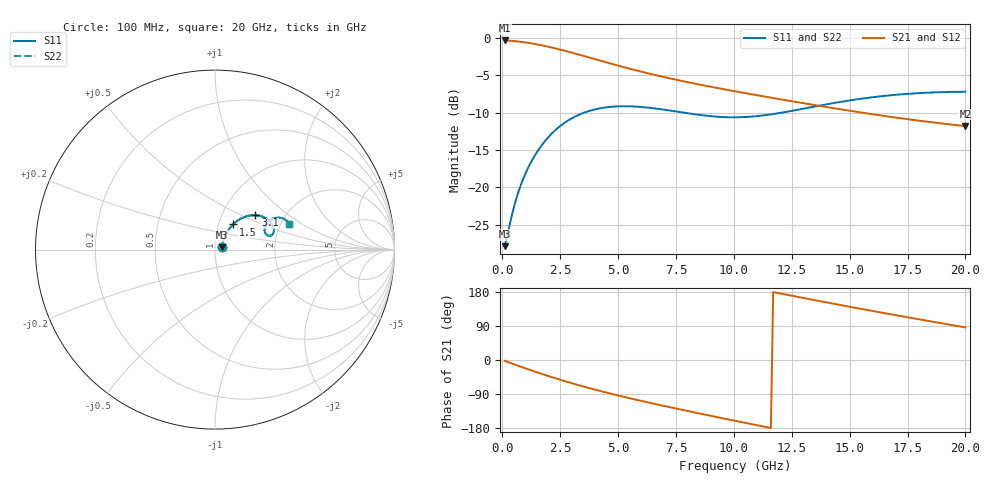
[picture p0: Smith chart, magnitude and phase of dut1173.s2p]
! Touchstone file exported from HFSS 2024.1.0
!  File:  C:/UserFiles/LocalFiles/RDL_TSV_Batchsim/temp_RDL_TSV_1173_1780123583.aedt
!  Generated:  03:03:57 PM May 30, 2026
!  Design:  RDL_TSV
!  Project:  temp_RDL_TSV_1173_1780123583
!  Setup:  Setup1
!  Solution:  Sweep
! Variables:
!  dtsv = 7.74um
!  hbump = 3um
!  htsv = 65.61um
!  ldown = 642.77um
!  lrdl = 571.92um
!  p = 40
!  p1 = 49.25um
!  rhole = 10um
!  subl = 4215.99um
!  t = 450um
!  tdown = 2.61um
!  trdl = 2.37um
!  viad = 10um
!  wdown = 17.04um
!  wrdl = 14.31um
!  xbump = 18um
# GHz S MA R 50.000000
! Terminal data exported
! Port[1] = TM1_1_T1
! Port[2] = TM1_4_T1
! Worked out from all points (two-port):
!   200 points, 100 MHz to 20 GHz, reference 50 ohm
!   highest |S21| = -0.34 dB at 100 MHz (marker M1); lowest = -11.8 dB at 20 GHz (marker M2)
!   |S21| within 3 dB of the highest: start of sweep to 4.568 GHz
!   lowest |S11| = -27.9 dB at 100 MHz (marker M3), VSWR 1.08, Z = 54 + j1.27 ohm
!   |S11| at or under -10 dB: start of sweep to 3.538 GHz; 7.827 GHz to 12.08 GHz (4.255 GHz wide, 42.7 % of centre)
!   |S22| runs from -27.9 to -7.2 dB; largest |S21 - S12| = 1.7e-13
!   S11 on the Smith chart (normalised r, x): 100 MHz: 1.08, +0.03; 1.5 GHz: 1.17, +0.34; 3.1 GHz: 1.43, +0.60; 20 GHz: 2.21, +0.78
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0.1  0.04035 17.0  0.9614 -2.3  0.9614 -2.3  0.04035 17.0
! Gamma 0 0 0 0
! Port Impedance 50 0 50 0
0.5  0.07357 48.9  0.9528 -11.2  0.9528 -11.2  0.07357 48.9
0.7  0.09354 53.1  0.9456 -15.6  0.9456 -15.6  0.09353 53.2
1.1  0.1335 55.5  0.9276 -24.1  0.9276 -24.1  0.1335 55.5
1.5  0.1723 54.3  0.9053 -32.5  0.9053 -32.5  0.1723 54.4
1.9  0.2088 51.6  0.8793 -40.5  0.8793 -40.5  0.2089 51.8
2.3  0.242 48.2  0.8506 -48.3  0.8506 -48.3  0.2422 48.3
3.1  0.2953 40.3  0.7891 -63.0  0.7891 -63.0  0.2957 40.5
3.5  0.3147 36.4  0.7582 -69.9  0.7582 -69.9  0.3153 36.6
4.2  0.3374 30.0  0.7063 -81.4  0.7063 -81.4  0.3382 30.2
5.1  0.3485 23.1  0.6461 -95.1  0.6461 -95.1  0.3497 23.3
5.9  0.3458 18.5  0.5998 -106.5  0.5998 -106.5  0.3472 18.7
6.8  0.334 15.2  0.5552 -118.8  0.5552 -118.8  0.3357 15.4
7.6  0.3202 14.0  0.5211 -129.3  0.5211 -129.3  0.322 14.2
8.4  0.307 14.4  0.4912 -139.6  0.4912 -139.6  0.309 14.6
10.1  0.2941 19.5  0.4378 -161.0  0.4378 -161.0  0.2962 19.5
11.6  0.3077 25.0  0.3982 -179.5  0.3982 -179.5  0.3096 24.9
13.4  0.3451 28.2  0.357 159.0  0.357 159.0  0.3467 28.1
15  0.3815 27.7  0.3255 140.5  0.3255 140.5  0.3829 27.5
16.7  0.412 25.2  0.2973 121.5  0.2973 121.5  0.4132 25.1
18.3  0.4294 22.2  0.2754 104.1  0.2754 104.1  0.4305 22.1
20  0.4362 19.2  0.2568 86.0  0.2568 86.0  0.4373 19.2
